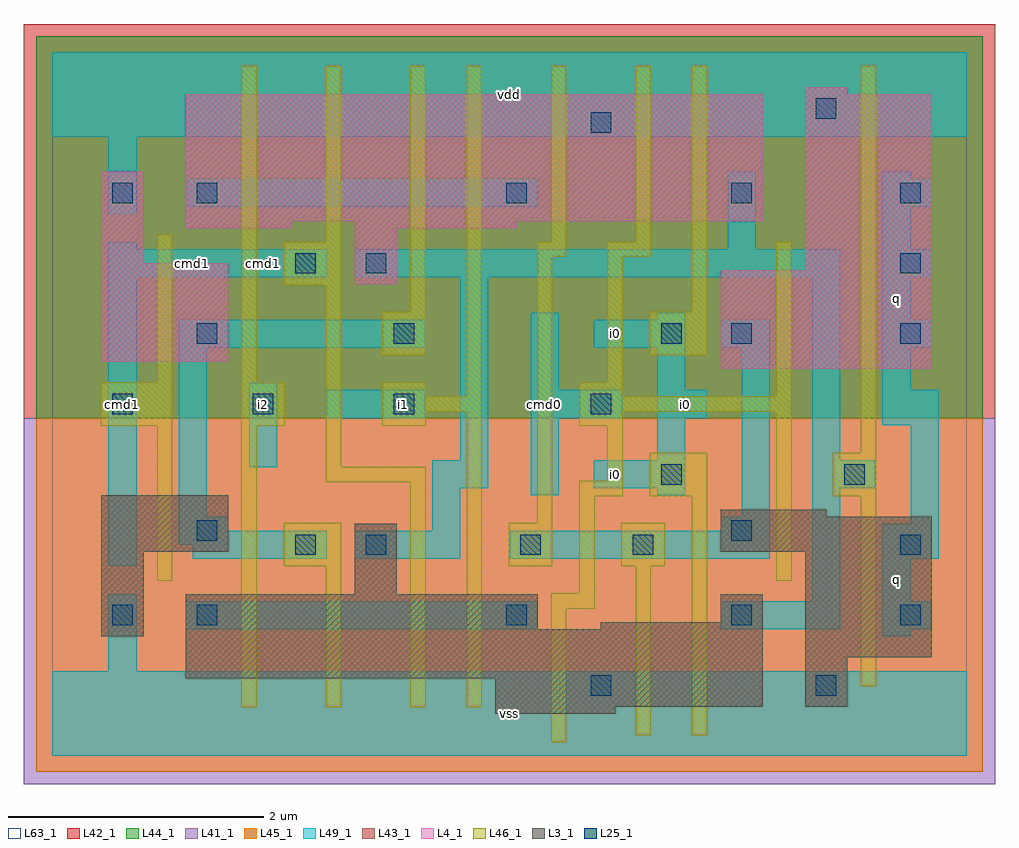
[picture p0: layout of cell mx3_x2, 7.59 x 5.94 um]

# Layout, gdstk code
import gdstk
lib = gdstk.Library(unit=1e-6, precision=1e-09)
def R(c, l, rs):  # rectangles x0, y0, x1, y1
    for r in rs: c.add(gdstk.rectangle(r[:2], r[2:], *l))
def A(c, l, x, y, w, h, nx, ny, dx, dy):  # array of equal rectangles
    R(c, l, [(x+i*dx, y+j*dy, x+i*dx+w, y+j*dy+h) for i in range(nx) for j in range(ny)])
L3_1 = (3, 1)
L4_1 = (4, 1)
L25_1 = (25, 1)
L41_1 = (41, 1)
L42_1 = (42, 1)
L43_1 = (43, 1)
L44_1 = (44, 1)
L45_1 = (45, 1)
L46_1 = (46, 1)
L49_1 = (49, 1)
L63_1 = (63, 1)

mx3_x2 = lib.new_cell('mx3_x2')
R(mx3_x2, L3_1, [(3.465,0.33,4.4,0.385), (3.465,0.385,5.555,0.605), (5.885,0.385,6.215,0.77), (1.045,0.605,5.555,0.99), (5.885,0.77,6.875,1.595), (0.385,0.935,0.715,1.595), (1.045,0.99,3.795,1.265), (4.29,0.99,5.555,1.045), (5.225,1.045,5.555,1.265), (2.365,1.265,2.695,1.815), (0.385,1.595,1.375,2.035), (5.225,1.595,6.875,1.87), (5.225,1.87,6.05,1.925)])
R(mx3_x2, L4_1, [(5.225,3.025,6.875,3.795), (0.385,3.08,1.375,3.85), (2.365,3.685,2.695,4.125), (5.885,3.795,6.875,5.17), (0.385,3.85,0.715,4.565), (1.045,4.125,1.87,4.18), (2.365,4.125,3.63,4.18), (1.045,4.18,5.555,5.17), (5.885,5.17,6.215,5.225)])
A(mx3_x2, L25_1, 4.21, 0.47, 0.16, 0.16, 1, 3, 0, 2.2)
A(mx3_x2, L25_1, 0.47, 2.67, 0.16, 0.16, 3, 1, 1.1, 0)
A(mx3_x2, L25_1, 6.63, 3.22, 0.16, 0.16, 1, 3, 0, 0.55)
R(mx3_x2, L25_1, [(5.97,0.47,6.13,0.63), (0.47,1.02,0.63,1.18), (1.13,1.02,1.29,1.18), (3.55,1.02,3.71,1.18), (5.31,1.02,5.47,1.18), (6.63,1.02,6.79,1.18), (1.9,1.57,2.06,1.73), (2.45,1.57,2.61,1.73), (3.66,1.57,3.82,1.73), (4.54,1.57,4.7,1.73), (6.63,1.57,6.79,1.73), (1.13,1.68,1.29,1.84), (5.31,1.68,5.47,1.84), (4.76,2.12,4.92,2.28), (6.19,2.12,6.35,2.28), (1.13,3.22,1.29,3.38), (2.67,3.22,2.83,3.38), (4.76,3.22,4.92,3.38), (5.31,3.22,5.47,3.38), (1.9,3.77,2.06,3.93), (2.45,3.77,2.61,3.93), (0.47,4.32,0.63,4.48), (1.13,4.32,1.29,4.48), (3.55,4.32,3.71,4.48), (5.31,4.32,5.47,4.48), (5.97,4.98,6.13,5.14)])
R(mx3_x2, L41_1, [(-0.22,-0.22,7.37,2.64)])
R(mx3_x2, L42_1, [(-0.22,2.64,7.37,5.72)])
R(mx3_x2, L43_1, [(3.465,0.33,4.4,0.385), (3.465,0.385,5.555,0.605), (5.885,0.385,6.215,0.77), (1.045,0.605,5.555,0.99), (5.885,0.77,6.875,1.595), (0.385,0.935,0.715,1.595), (1.045,0.99,3.795,1.265), (4.29,0.99,5.555,1.045), (5.225,1.045,5.555,1.265), (2.365,1.265,2.695,1.815), (0.385,1.595,1.375,2.035), (5.225,1.595,6.875,1.87), (5.225,1.87,6.05,1.925), (5.225,3.025,6.875,3.795), (0.385,3.08,1.375,3.85), (2.365,3.685,2.695,4.125), (5.885,3.795,6.875,5.17), (0.385,3.85,0.715,4.565), (1.045,4.125,1.87,4.18), (2.365,4.125,3.63,4.18), (1.045,4.18,5.555,5.17), (5.885,5.17,6.215,5.225)])
R(mx3_x2, L44_1, [(-0.125,2.64,7.275,5.625)])
R(mx3_x2, L45_1, [(-0.125,-0.125,7.275,2.64)])
R(mx3_x2, L46_1, [(3.9,0.105,4.02,1.15), (4.56,0.16,4.68,1.48), (5,0.16,5.12,2.03), (1.48,0.38,1.6,2.58), (2.14,0.38,2.26,1.48), (2.8,0.38,2.92,2.14), (3.24,0.38,3.36,2.69), (6.32,0.545,6.44,2.03), (3.9,1.15,4.24,1.27), (4.12,1.27,4.24,2.03), (0.82,1.37,0.94,2.58), (5.66,1.37,5.78,2.69), (1.81,1.48,2.26,1.82), (3.57,1.48,3.91,1.82), (4.45,1.48,4.79,1.82), (3.79,1.82,3.91,3.9), (4.12,2.03,4.46,2.15), (4.67,2.03,5.12,2.37), (6.1,2.03,6.44,2.37), (2.14,2.14,2.92,2.26), (4.34,2.15,4.46,2.58), (2.14,2.26,2.26,3.68), (6.32,2.37,6.44,5.395), (0.38,2.58,0.94,2.92), (1.48,2.58,1.82,2.92), (2.58,2.58,2.92,2.69), (4.12,2.58,4.46,2.69), (2.58,2.69,3.36,2.81), (4.12,2.69,5.78,2.81), (2.58,2.81,2.92,2.92), (3.24,2.81,3.36,5.395), (4.12,2.81,4.46,2.92), (5.66,2.81,5.78,4.02), (0.82,2.92,0.94,4.075), (1.48,2.92,1.6,5.395), (4.34,2.92,4.46,3.9), (2.58,3.13,2.92,3.47), (4.67,3.13,5.12,3.47), (2.8,3.47,2.92,5.395), (5,3.47,5.12,5.395), (1.81,3.68,2.26,4.02), (3.79,3.9,4.02,4.02), (4.34,3.9,4.68,4.02), (2.14,4.02,2.26,5.395), (3.9,4.02,4.02,5.395), (4.56,4.02,4.68,5.395)])
A(mx3_x2, L49_1, 6.49, 2.86, 0.22, 0.33, 1, 3, 0, 0.55)
A(mx3_x2, L49_1, 6.49, 3.19, 0.385, 0.22, 1, 3, 0, 0.55)
R(mx3_x2, L49_1, [(0,0,7.15,0.66), (0.44,0.66,0.66,1.265), (6.49,0.935,6.71,0.99), (1.045,0.99,3.795,1.21), (5.225,0.99,6.16,1.21), (6.49,0.99,6.875,1.21), (5.94,1.21,6.16,2.09), (6.49,1.21,6.71,1.54), (0.44,1.485,0.66,3.74), (1.1,1.54,2.145,1.65), (2.365,1.54,3.19,1.76), (3.575,1.54,5.61,1.76), (6.49,1.54,6.93,1.815), (0.99,1.65,2.145,1.76), (0.99,1.76,1.375,1.87), (2.97,1.76,3.19,2.09), (5.225,1.76,5.61,1.87), (6.71,1.815,6.93,2.585), (0.99,1.87,1.21,3.19), (5.39,1.87,5.61,3.19), (3.74,2.035,3.96,2.64), (4.73,2.035,4.95,2.09), (2.97,2.09,3.41,2.31), (4.235,2.09,4.95,2.31), (5.94,2.09,6.435,2.31), (1.54,2.255,1.76,2.915), (3.19,2.31,3.41,3.74), (4.73,2.31,4.95,2.64), (5.94,2.31,6.16,3.74), (6.49,2.585,6.93,2.86), (2.145,2.64,2.915,2.86), (3.74,2.64,4.455,2.86), (4.73,2.64,5.115,2.86), (3.74,2.86,3.96,3.465), (4.73,2.86,4.95,3.19), (0.99,3.19,2.915,3.41), (4.235,3.19,4.95,3.41), (5.225,3.19,5.61,3.41), (4.73,3.41,4.95,3.465), (0.44,3.74,2.145,3.96), (2.365,3.74,6.16,3.96), (0.44,3.96,0.66,4.015), (5.28,3.96,5.5,4.565), (0.44,4.235,0.66,4.84), (1.045,4.29,3.795,4.51), (6.49,4.51,6.71,4.565), (0,4.84,7.15,5.5)])
R(mx3_x2, L63_1, [(0,0,7.15,5.5)])
mx3_x2.add(gdstk.Label('cmd1', (0.55,2.75), layer=49, texttype=1))
mx3_x2.add(gdstk.Label('cmd1', (1.1,3.85), layer=49, texttype=1))
mx3_x2.add(gdstk.Label('i2', (1.65,2.75), layer=49, texttype=1))
mx3_x2.add(gdstk.Label('cmd1', (1.65,3.85), layer=49, texttype=1))
mx3_x2.add(gdstk.Label('vss', (3.575,0.33), layer=49, texttype=1))
mx3_x2.add(gdstk.Label('i1', (2.75,2.75), layer=49, texttype=1))
mx3_x2.add(gdstk.Label('cmd0', (3.85,2.75), layer=49, texttype=1))
mx3_x2.add(gdstk.Label('vdd', (3.575,5.17), layer=49, texttype=1))
mx3_x2.add(gdstk.Label('i0', (4.4,2.2), layer=49, texttype=1))
mx3_x2.add(gdstk.Label('i0', (4.95,2.75), layer=49, texttype=1))
mx3_x2.add(gdstk.Label('i0', (4.4,3.3), layer=49, texttype=1))
mx3_x2.add(gdstk.Label('q', (6.6,1.375), layer=49, texttype=1))
mx3_x2.add(gdstk.Label('q', (6.6,3.575), layer=49, texttype=1))

lib.write_gds('mx3_x2.gds')
